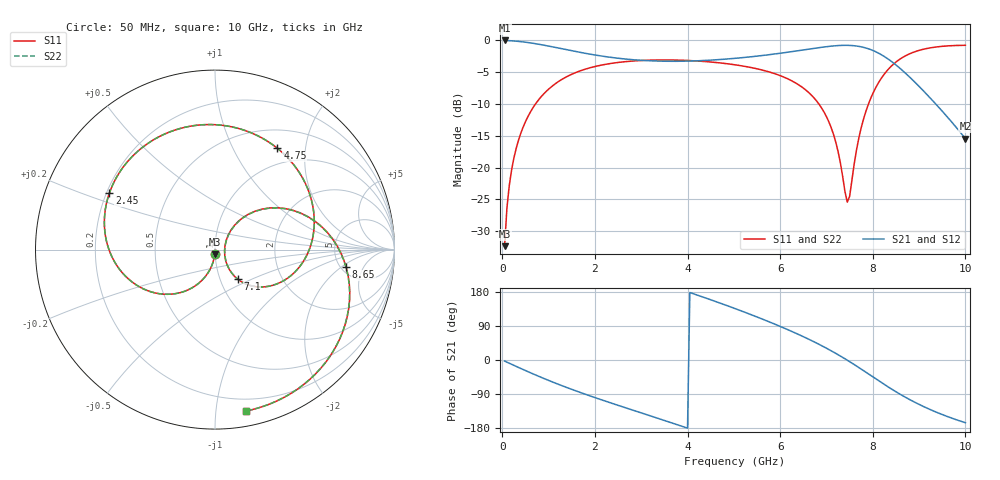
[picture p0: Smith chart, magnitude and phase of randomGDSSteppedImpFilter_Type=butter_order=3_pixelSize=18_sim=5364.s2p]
! freq	dB(S11)	phase(S11)	dB(S12)	phase(S12)
!  dB(S21)	phase(S21)	dB(S22)	phase(S22)
!S-par simulation data
#  GHz  S  DB  R 50
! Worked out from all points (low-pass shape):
!   200 points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, 50 MHz to 10 GHz, reference 50 ohm
!   highest |S21| = 0.00 dB at 50 MHz (marker M1); lowest = -15.4 dB at 10 GHz (marker M2)
!   |S21| within 3 dB of the highest: start of sweep to 2.776 GHz; 4.7 GHz to 8.347 GHz (3.647 GHz wide, 55.9 % of centre)
!   lowest |S11| = -32.3 dB at 50 MHz (marker M3), VSWR 1.05, Z = 49.8 - j2.4 ohm
!   |S11| at or under -10 dB: start of sweep to 716.8 MHz; 6.837 GHz to 7.907 GHz (1.071 GHz wide, 14.5 % of centre)
!   |S22| runs from -32.3 to -0.8 dB; largest |S21 - S12| = 0
!   S11 on the Smith chart (normalised r, x): 50 MHz: 1.00, -0.05; 2.45 GHz: 0.21, +0.24; 4.75 GHz: 0.75, +1.52; 7.1 GHz: 1.21, -0.42; 8.65 GHz: 5.56, -2.39; 10 GHz: 0.11, -1.21
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0.05  -32.35 -92.9  -0.00 -2.9  -0.00 -2.9  -32.35 -92.9
0.1  -26.35 -96.0  -0.02 -5.7  -0.02 -5.7  -26.35 -96.0
0.2  -20.40 -101.8  -0.06 -11.3  -0.06 -11.3  -20.40 -101.9
0.5  -12.78 -118.5  -0.28 -27.9  -0.28 -27.9  -12.78 -118.5
1.1  -7.05 -149.4  -1.03 -58.8  -1.03 -58.8  -7.05 -149.4
1.75  -4.61 -179.2  -1.97 -88.6  -1.97 -88.6  -4.61 -179.2
2.45  -3.51 151.7  -2.76 -117.6  -2.76 -117.6  -3.51 151.7
3.4  -3.07 114.0  -3.26 -155.5  -3.26 -155.5  -3.07 114.0
4.05  -3.17 87.8  -3.24 178.0  -3.24 178.0  -3.17 87.7
4.75  -3.57 58.3  -2.98 148.1  -2.98 148.1  -3.57 58.3
5.05  -3.86 45.2  -2.80 134.6  -2.80 134.6  -3.86 45.1
6  -5.53 1.1  -2.02 88.7  -2.02 88.7  -5.53 1.0
6.7  -8.79 -34.2  -1.28 49.9  -1.28 49.9  -8.79 -34.2
7.1  -13.68 -52.5  -0.90 24.5  -0.90 24.5  -13.67 -52.4
7.25  -17.44 -54.1  -0.81 14.1  -0.81 14.1  -17.42 -53.9
7.45  -25.42 -7.6  -0.77 -0.5  -0.77 -0.5  -25.29 -7.6
7.85  -11.18 46.3  -1.18 -32.1  -1.18 -32.1  -11.18 46.0
8.1  -6.94 30.7  -1.91 -52.5  -1.91 -52.5  -6.94 30.5
8.35  -4.42 13.0  -3.02 -72.4  -3.02 -72.4  -4.42 12.8
8.65  -2.65 -7.6  -4.78 -94.5  -4.78 -94.5  -2.65 -7.8
9.2  -1.22 -40.6  -8.74 -128.6  -8.74 -128.6  -1.22 -40.8
10  -0.77 -79.0  -15.44 -165.5  -15.44 -165.5  -0.77 -79.2
